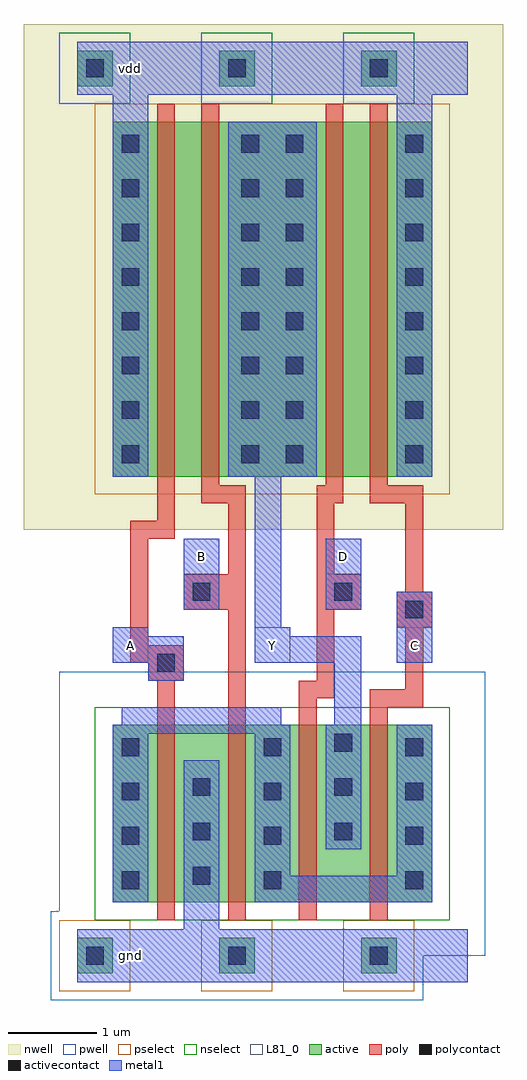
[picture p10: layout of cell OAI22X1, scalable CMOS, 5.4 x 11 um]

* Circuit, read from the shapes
.subckt OAI22X1 A B C D Y gnd vdd
M1 gnd A n1 gnd nfet w=2u l=0.2u
M2 n1 B gnd gnd nfet w=2u l=0.2u
M3 Y D n1 gnd nfet w=2u l=0.2u
M4 n1 C Y gnd nfet w=2u l=0.2u
M5 n2 A vdd vdd pfet w=4u l=0.2u
M6 Y B n2 vdd pfet w=4u l=0.2u
M7 n3 D Y vdd pfet w=4u l=0.2u
M8 vdd C n3 vdd pfet w=4u l=0.2u
.ends

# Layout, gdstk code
import gdstk
lib = gdstk.Library(unit=1e-6, precision=1e-09)
def R(c, l, rs):  # rectangles x0, y0, x1, y1
    for r in rs: c.add(gdstk.rectangle(r[:2], r[2:], *l))
def A(c, l, x, y, w, h, nx, ny, dx, dy):  # array of equal rectangles
    R(c, l, [(x+i*dx, y+j*dy, x+i*dx+w, y+j*dy+h) for i in range(nx) for j in range(ny)])
pwell = (41, 0)
nwell = (42, 0)
active = (43, 0)
pselect = (44, 0)
nselect = (45, 0)
poly = (46, 0)
polycontact = (47, 0)
activecontact = (48, 0)
metal1 = (49, 0)
L81_0 = (81, 0)

oai22x1 = lib.new_cell('OAI22X1')
R(oai22x1, pwell, [(-0.5,-0.5,3.7,0), (-0.5,0,4.4,0.5), (-0.4,0.5,4.4,3.2)])
R(oai22x1, nwell, [(-0.8,4.8,4.6,10.5)])
A(oai22x1, active, -0.2, -0.2, 0.4, 0.4, 3, 2, 1.6, 10)
R(oai22x1, active, [(0.2,0.6,3.8,2.6), (0.2,5.4,3.8,9.4)])
A(oai22x1, pselect, -0.4, -0.4, 0.8, 0.8, 3, 1, 1.6, 0)
R(oai22x1, pselect, [(0,5.2,4,9.6)])
A(oai22x1, nselect, -0.4, 9.6, 0.8, 0.8, 3, 1, 1.6, 0)
R(oai22x1, nselect, [(0,0.4,4,2.8)])
R(oai22x1, poly, [(0.7,0.4,0.9,3.1), (1.5,0.4,1.7,3.9), (2.3,0.4,2.5,2.9), (3.1,0.4,3.3,2.8), (3.1,2.8,3.7,3), (2.3,2.9,2.7,3.1), (3.5,3,3.7,3.7), (0.6,3.1,1,3.3), (2.5,3.1,2.7,3.9), (0.4,3.3,1,3.5), (0.4,3.5,0.6,4.7), (3.4,3.7,3.8,4.1), (1,3.9,1.7,4.3), (2.5,3.9,3,4.3), (3.5,4.1,3.7,5.1), (1.5,4.3,1.7,5.1), (2.5,4.3,2.7,5.1), (0.4,4.7,0.9,4.9), (0.7,4.9,0.9,9.6), (1.2,5.1,1.7,5.3), (2.5,5.1,2.8,5.3), (3.1,5.1,3.7,5.3), (1.2,5.3,1.4,9.6), (2.6,5.3,2.8,9.6), (3.1,5.3,3.3,9.6)])
R(oai22x1, polycontact, [(0.7,3.2,0.9,3.4), (3.5,3.8,3.7,4), (1.1,4,1.3,4.2), (2.7,4,2.9,4.2)])
A(oai22x1, activecontact, -0.1, -0.1, 0.2, 0.2, 3, 2, 1.6, 10)
A(oai22x1, activecontact, 0.3, 0.75, 0.2, 0.2, 3, 4, 1.6, 0.5)
A(oai22x1, activecontact, 1.1, 0.8, 0.2, 0.2, 1, 3, 0, 0.5)
A(oai22x1, activecontact, 2.7, 1.3, 0.2, 0.2, 1, 3, 0, 0.5)
A(oai22x1, activecontact, 0.3, 5.55, 0.2, 0.2, 1, 8, 0, 0.5)
A(oai22x1, activecontact, 1.65, 5.55, 0.2, 0.2, 1, 8, 0, 0.5)
A(oai22x1, activecontact, 2.15, 5.55, 0.2, 0.2, 1, 8, 0, 0.5)
A(oai22x1, activecontact, 3.5, 5.55, 0.2, 0.2, 1, 8, 0, 0.5)
R(oai22x1, metal1, [(-0.2,-0.3,4.2,0.3), (1,0.3,1.4,2.2), (0.2,0.6,0.6,2.5), (1.8,0.6,3.8,0.9), (1.8,0.9,2.2,2.5), (3.4,0.9,3.8,2.6), (2.6,1.2,3,2.6), (0.2,2.5,2.2,2.6), (0.3,2.6,2.1,2.8), (2.7,2.6,3,3.3), (0.6,3.1,1,3.3), (0.2,3.3,1,3.6), (1.8,3.3,3,3.6), (3.4,3.3,3.8,4.1), (0.2,3.6,0.6,3.7), (1.8,3.6,2.2,3.7), (1.8,3.7,2.1,5.4), (1,3.9,1.4,4.7), (2.6,3.9,3,4.7), (0.2,5.4,0.6,9.7), (1.5,5.4,2.5,9.4), (3.4,5.4,3.8,9.7), (-0.2,9.7,4.2,10.3)])
A(oai22x1, L81_0, 0.2, 3.3, 0.4, 0.4, 3, 1, 1.6, 0)
R(oai22x1, L81_0, [(1,4.3,1.4,4.7), (2.6,4.3,3,4.7)])
oai22x1.add(gdstk.Label('gnd', (0.4,0), layer=49, texttype=0))
oai22x1.add(gdstk.Label('vdd', (0.4,10), layer=49, texttype=0))
oai22x1.add(gdstk.Label('D', (2.8,4.5), layer=49, texttype=0))
oai22x1.add(gdstk.Label('C', (3.6,3.5), layer=49, texttype=0))
oai22x1.add(gdstk.Label('A', (0.4,3.5), layer=49, texttype=0))
oai22x1.add(gdstk.Label('B', (1.2,4.5), layer=49, texttype=0))
oai22x1.add(gdstk.Label('Y', (2,3.5), layer=49, texttype=0))

lib.write_gds('OAI22X1.gds')
